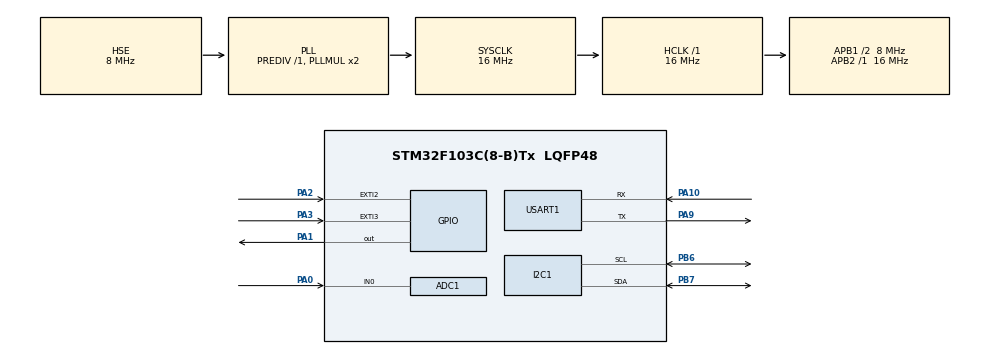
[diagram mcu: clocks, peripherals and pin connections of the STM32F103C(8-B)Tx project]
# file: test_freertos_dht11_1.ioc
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ADC1.Channel-0\#ChannelRegularConversion=ADC_CHANNEL_0
ADC1.NbrOfConversionFlag=1
ADC1.Rank-0\#ChannelRegularConversion=1
ADC1.SamplingTime-0\#ChannelRegularConversion=ADC_SAMPLETIME_1CYCLE_5
ADC1.master=1
FREERTOS.BinarySemaphores01=semaphore_uart,Dynamic,NULL
FREERTOS.Queues01=queue_exit,3,uint16_t,0,Dynamic,NULL,NULL
FREERTOS.Tasks01=Task_ConTrol,0,512,Task_control,Default,NULL,Dynamic,NULL,NULL;Task_GetData,1,512,Task_getdata,Default,NULL,Dynamic,NULL,NULL
FREERTOS.configTOTAL_HEAP_SIZE=5120
FREERTOS.configUSE_NEWLIB_REENTRANT=1
Mcu.Family=STM32F1
Mcu.Name=STM32F103C(8-B)Tx
Mcu.Package=LQFP48
NVIC.EXTI2_IRQn=true\:5\:0\:false\:false\:true\:true\:true\:true\:true
NVIC.EXTI3_IRQn=true\:5\:0\:false\:false\:true\:true\:true\:true\:true
NVIC.PriorityGroup=NVIC_PRIORITYGROUP_4
NVIC.USART1_IRQn=true\:5\:0\:false\:false\:true\:true\:true\:true\:true
PA0-WKUP.Signal=ADCx_IN0
PA1.PinState=GPIO_PIN_SET
PA1.Signal=GPIO_Output
PA10.Mode=Asynchronous
PA10.Signal=USART1_RX
PA13.Mode=Serial_Wire
PA13.Signal=SYS_JTMS-SWDIO
PA14.Mode=Serial_Wire
PA14.Signal=SYS_JTCK-SWCLK
PA2.GPIO_ModeDefaultEXTI=GPIO_MODE_IT_FALLING
PA2.GPIO_PuPd=GPIO_PULLUP
PA2.Signal=GPXTI2
PA3.GPIO_ModeDefaultEXTI=GPIO_MODE_IT_FALLING
PA3.GPIO_PuPd=GPIO_PULLUP
PA3.Signal=GPXTI3
PA9.Mode=Asynchronous
PA9.Signal=USART1_TX
PB6.Mode=I2C
PB6.Signal=I2C1_SCL
PB7.Mode=I2C
PB7.Signal=I2C1_SDA
PD0-OSC_IN.Mode=HSE-External-Oscillator
PD0-OSC_IN.Signal=RCC_OSC_IN
PD1-OSC_OUT.Mode=HSE-External-Oscillator
PD1-OSC_OUT.Signal=RCC_OSC_OUT
ProjectManager.HeapSize=0x200
ProjectManager.StackSize=0x400
ProjectManager.TargetToolchain=STM32CubeIDE
RCC.AHBFreq_Value=16000000
RCC.APB1CLKDivider=RCC_HCLK_DIV2
RCC.APB1Freq_Value=8000000
RCC.APB1TimFreq_Value=16000000
RCC.APB2Freq_Value=16000000
RCC.APB2TimFreq_Value=16000000
RCC.HCLKFreq_Value=16000000
RCC.PLLSourceVirtual=RCC_PLLSOURCE_HSE
RCC.SYSCLKFreq_VALUE=16000000
RCC.SYSCLKSource=RCC_SYSCLKSOURCE_PLLCLK
RCC.USBFreq_Value=16000000
SH.ADCx_IN0.0=ADC1_IN0,IN0
TIM2.Prescaler=15
USART1.VirtualMode=VM_ASYNC
VP_FREERTOS_VS_CMSIS_V1.Mode=CMSIS_V1
VP_TIM2_VS_ClockSourceINT.Mode=Internal
board=custom

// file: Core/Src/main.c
/* USER CODE BEGIN Header */
/**
  ******************************************************************************
  * @file           : main.c
  * @brief          : Main program body
  ******************************************************************************
  * @attention
  *
  * Copyright (c) 2023 STMicroelectronics.
  * All rights reserved.
  *
  * This software is licensed under terms that can be found in the LICENSE file
  * in the root directory of this software component.
  * If no LICENSE file comes with this software, it is provided AS-IS.
  *
  ******************************************************************************
  */
/* USER CODE END Header */
#include "main.h"
#include "cmsis_os.h"

/* USER CODE BEGIN Includes */
#include "i2c-lcd.h"
#include "stdio.h"
#include "DHT.h"
#include "string.h"
#include "stdlib.h"
/* USER CODE END Includes */

ADC_HandleTypeDef hadc1;

I2C_HandleTypeDef hi2c1;

TIM_HandleTypeDef htim2;

UART_HandleTypeDef huart1;

osThreadId Task_ConTrolHandle;
osThreadId Task_GetDataHandle;
osMessageQId queue_exitHandle;
osSemaphoreId semaphore_uartHandle;
/* USER CODE BEGIN PV */

char t[20], data_storage[20];
DHT_DataTypedef data;
int dientro;
volatile uint32_t currentTime, lastTime=0;
volatile int current_Time, last_Time=0;
volatile uint8_t mode=2, para=1;
volatile uint8_t cycle=2, flag=1;
extern __IO uint32_t uwTick;

/* USER CODE END PV */

void SystemClock_Config(void);
static void MX_GPIO_Init(void);
static void MX_I2C1_Init(void);
static void MX_TIM2_Init(void);
static void MX_USART1_UART_Init(void);
static void MX_ADC1_Init(void);
void Task_control(void const * argument);
void Task_getdata(void const * argument);

/* USER CODE BEGIN PFP */
void display_mode_1(DHT_DataTypedef data, int dientro);  // Hàm hiển thị dữ liệu ở chế độ 1
void display_mode_2(DHT_DataTypedef data, int dientro);  // Hàm hiển thị dữ liệu ở chế độ 2
void display_cycle();                       // Hàm hiển thị chu kì ở chế độ 1
void get_data(char *p);                     // Hàm xử lí dữ liệu thì máy tính gửi xuống
void transmit_data_from_computer();         // Hàm truy�?n dữ liệu lên máy tính
void getdata_DT(int *value);
int get_adc_channel(uint32_t channel);
/* USER CODE END PFP */

int main(void)
{

  /* MCU Configuration--------------------------------------------------------*/

  /* Reset of all peripherals, Initializes the Flash interface and the Systick. */
  HAL_Init();

  /* Configure the system clock */
  SystemClock_Config();

  /* Initialize all configured peripherals */
  MX_GPIO_Init();
  MX_I2C1_Init();
  MX_TIM2_Init();
  MX_USART1_UART_Init();
  MX_ADC1_Init();
  /* USER CODE BEGIN 2 */
   lcd_init();
   HAL_UART_Receive_IT(&huart1, (uint8_t*) &t[2], 18);
  /* USER CODE END 2 */

  /* Create the semaphores(s) */
  /* definition and creation of semaphore_uart */
  osSemaphoreDef(semaphore_uart);
  semaphore_uartHandle = osSemaphoreCreate(osSemaphore(semaphore_uart), 1);

  /* Create the queue(s) */
  /* definition and creation of queue_exit */
  osMessageQDef(queue_exit, 3, uint16_t);
  queue_exitHandle = osMessageCreate(osMessageQ(queue_exit), NULL);

  /* Create the thread(s) */
  /* definition and creation of Task_ConTrol */
  osThreadDef(Task_ConTrol, Task_control, osPriorityNormal, 0, 512);
  Task_ConTrolHandle = osThreadCreate(osThread(Task_ConTrol), NULL);

  /* definition and creation of Task_GetData */
  osThreadDef(Task_GetData, Task_getdata, osPriorityAboveNormal, 0, 512);
  Task_GetDataHandle = osThreadCreate(osThread(Task_GetData), NULL);

  /* Start scheduler */
  osKernelStart();

  /* We should never get here as control is now taken by the scheduler */
  /* Infinite loop */
  while (1)
  {

  }
}

void SystemClock_Config(void)
{
  RCC_OscInitTypeDef RCC_OscInitStruct = {0};
  RCC_ClkInitTypeDef RCC_ClkInitStruct = {0};
  RCC_PeriphCLKInitTypeDef PeriphClkInit = {0};

  /** Initializes the RCC Oscillators according to the specified parameters
  * in the RCC_OscInitTypeDef structure.
  */
  RCC_OscInitStruct.OscillatorType = RCC_OSCILLATORTYPE_HSE;
  RCC_OscInitStruct.HSEState = RCC_HSE_ON;
  RCC_OscInitStruct.HSEPredivValue = RCC_HSE_PREDIV_DIV1;
  RCC_OscInitStruct.HSIState = RCC_HSI_ON;
  RCC_OscInitStruct.PLL.PLLState = RCC_PLL_ON;
  RCC_OscInitStruct.PLL.PLLSource = RCC_PLLSOURCE_HSE;
  RCC_OscInitStruct.PLL.PLLMUL = RCC_PLL_MUL2;
  if (HAL_RCC_OscConfig(&RCC_OscInitStruct) != HAL_OK)
  {
    Error_Handler();
  }

  /** Initializes the CPU, AHB and APB buses clocks
  */
  RCC_ClkInitStruct.ClockType = RCC_CLOCKTYPE_HCLK|RCC_CLOCKTYPE_SYSCLK
                              |RCC_CLOCKTYPE_PCLK1|RCC_CLOCKTYPE_PCLK2;
  RCC_ClkInitStruct.SYSCLKSource = RCC_SYSCLKSOURCE_PLLCLK;
  RCC_ClkInitStruct.AHBCLKDivider = RCC_SYSCLK_DIV1;
  RCC_ClkInitStruct.APB1CLKDivider = RCC_HCLK_DIV2;
  RCC_ClkInitStruct.APB2CLKDivider = RCC_HCLK_DIV1;

  if (HAL_RCC_ClockConfig(&RCC_ClkInitStruct, FLASH_LATENCY_0) != HAL_OK)
  {
    Error_Handler();
  }
  PeriphClkInit.PeriphClockSelection = RCC_PERIPHCLK_ADC;
  PeriphClkInit.AdcClockSelection = RCC_ADCPCLK2_DIV2;
  if (HAL_RCCEx_PeriphCLKConfig(&PeriphClkInit) != HAL_OK)
  {
    Error_Handler();
  }
}

static void MX_ADC1_Init(void)
{

  ADC_ChannelConfTypeDef sConfig = {0};

  /** Common config
  */
  hadc1.Instance = ADC1;
  hadc1.Init.ScanConvMode = ADC_SCAN_DISABLE;
  hadc1.Init.ContinuousConvMode = DISABLE;
  hadc1.Init.DiscontinuousConvMode = DISABLE;
  hadc1.Init.ExternalTrigConv = ADC_SOFTWARE_START;
  hadc1.Init.DataAlign = ADC_DATAALIGN_RIGHT;
  hadc1.Init.NbrOfConversion = 1;
  if (HAL_ADC_Init(&hadc1) != HAL_OK)
  {
    Error_Handler();
  }

  /** Configure Regular Channel
  */
  sConfig.Channel = ADC_CHANNEL_0;
  sConfig.Rank = ADC_REGULAR_RANK_1;
  sConfig.SamplingTime = ADC_SAMPLETIME_1CYCLE_5;
  if (HAL_ADC_ConfigChannel(&hadc1, &sConfig) != HAL_OK)
  {
    Error_Handler();
  }

}

static void MX_I2C1_Init(void)
{

  hi2c1.Instance = I2C1;
  hi2c1.Init.ClockSpeed = 100000;
  hi2c1.Init.DutyCycle = I2C_DUTYCYCLE_2;
  hi2c1.Init.OwnAddress1 = 0;
  hi2c1.Init.AddressingMode = I2C_ADDRESSINGMODE_7BIT;
  hi2c1.Init.DualAddressMode = I2C_DUALADDRESS_DISABLE;
  hi2c1.Init.OwnAddress2 = 0;
  hi2c1.Init.GeneralCallMode = I2C_GENERALCALL_DISABLE;
  hi2c1.Init.NoStretchMode = I2C_NOSTRETCH_DISABLE;
  if (HAL_I2C_Init(&hi2c1) != HAL_OK)
  {
    Error_Handler();
  }

}

static void MX_TIM2_Init(void)
{

  TIM_ClockConfigTypeDef sClockSourceConfig = {0};
  TIM_MasterConfigTypeDef sMasterConfig = {0};

  htim2.Instance = TIM2;
  htim2.Init.Prescaler = 15;
  htim2.Init.CounterMode = TIM_COUNTERMODE_UP;
  htim2.Init.Period = 65535;
  htim2.Init.ClockDivision = TIM_CLOCKDIVISION_DIV1;
  htim2.Init.AutoReloadPreload = TIM_AUTORELOAD_PRELOAD_DISABLE;
  if (HAL_TIM_Base_Init(&htim2) != HAL_OK)
  {
    Error_Handler();
  }
  sClockSourceConfig.ClockSource = TIM_CLOCKSOURCE_INTERNAL;
  if (HAL_TIM_ConfigClockSource(&htim2, &sClockSourceConfig) != HAL_OK)
  {
    Error_Handler();
  }
  sMasterConfig.MasterOutputTrigger = TIM_TRGO_RESET;
  sMasterConfig.MasterSlaveMode = TIM_MASTERSLAVEMODE_DISABLE;
  if (HAL_TIMEx_MasterConfigSynchronization(&htim2, &sMasterConfig) != HAL_OK)
  {
    Error_Handler();
  }

}

static void MX_USART1_UART_Init(void)
{

  huart1.Instance = USART1;
  huart1.Init.BaudRate = 115200;
  huart1.Init.WordLength = UART_WORDLENGTH_8B;
  huart1.Init.StopBits = UART_STOPBITS_1;
  huart1.Init.Parity = UART_PARITY_NONE;
  huart1.Init.Mode = UART_MODE_TX_RX;
  huart1.Init.HwFlowCtl = UART_HWCONTROL_NONE;
  huart1.Init.OverSampling = UART_OVERSAMPLING_16;
  if (HAL_UART_Init(&huart1) != HAL_OK)
  {
    Error_Handler();
  }

}

static void MX_GPIO_Init(void)
{
  GPIO_InitTypeDef GPIO_InitStruct = {0};

  /* GPIO Ports Clock Enable */
  __HAL_RCC_GPIOD_CLK_ENABLE();
  __HAL_RCC_GPIOA_CLK_ENABLE();
  __HAL_RCC_GPIOB_CLK_ENABLE();

  /*Configure GPIO pin Output Level */
  HAL_GPIO_WritePin(GPIOA, GPIO_PIN_1, GPIO_PIN_SET);

  /*Configure GPIO pin : PA1 */
  GPIO_InitStruct.Pin = GPIO_PIN_1;
  GPIO_InitStruct.Mode = GPIO_MODE_OUTPUT_PP;
  GPIO_InitStruct.Pull = GPIO_NOPULL;
  GPIO_InitStruct.Speed = GPIO_SPEED_FREQ_LOW;
  HAL_GPIO_Init(GPIOA, &GPIO_InitStruct);

  /*Configure GPIO pins : PA2 PA3 */
  GPIO_InitStruct.Pin = GPIO_PIN_2|GPIO_PIN_3;
  GPIO_InitStruct.Mode = GPIO_MODE_IT_FALLING;
  GPIO_InitStruct.Pull = GPIO_PULLUP;
  HAL_GPIO_Init(GPIOA, &GPIO_InitStruct);

  /* EXTI interrupt init*/
  HAL_NVIC_SetPriority(EXTI2_IRQn, 5, 0);
  HAL_NVIC_EnableIRQ(EXTI2_IRQn);

  HAL_NVIC_SetPriority(EXTI3_IRQn, 5, 0);
  HAL_NVIC_EnableIRQ(EXTI3_IRQn);

}

/* USER CODE BEGIN 4 */
/*Hàm này sẽ được g�?i khi có dữ liệu từ máy tính gửi xuống
 * */
void HAL_UART_RxCpltCallback(UART_HandleTypeDef *huart)
{
	HAL_UART_Receive_IT(&huart1, (uint8_t*) &t[2], 18);// �?ăng kí nơi lưu dữ liệu từ máy tính gửi xuống
	strncpy(data_storage,"",20);						// xóa nơi lưu trữ để nhận dữ liệu mới
	strncpy(data_storage,&t[2],strlen(&t[2])-2);		// xóa nơi lưu trữ để nhận dữ liệu mới
	strncpy(t,"",20);									// xóa nơi lưu trữ ban đầu để chuẩn bị nhận dữ liệu tiếp theo
	osSemaphoreRelease (semaphore_uartHandle);// giải phóng semaphore
}
/*Hàm này sẽ được g�?i khi có ngắt ngoài xảy ra */
void HAL_GPIO_EXTI_Callback(uint16_t GPIO_Pin)
{
	if(GPIO_Pin==GPIO_PIN_3)				//Nếu là ngắt ngoài 3 thì ta sẽ đổi mode
	{
		current_Time=HAL_GetTick();
		if(current_Time-last_Time>300)		// �?ảm bảo giữa 2 lần ngắt là 300ms nhằm chống dội phím
		{
			if(mode==1)
			{
				mode=2;
				flag=1;
			}
			else
				mode=1;
		}
		last_Time=current_Time;
	}
	if(GPIO_Pin==GPIO_PIN_2)			// Nếu là ngắt ngoài 2 thì ta sẽ tăng chu kì lên 1
	{
		current_Time=HAL_GetTick();
		if((current_Time-last_Time>300)&&(mode==1))  // ch�? 300ms để chống nhiễu và phải ở chế độ 1
		{
			cycle=cycle+1;
		}
		last_Time=current_Time;
	}
	__HAL_GPIO_EXTI_CLEAR_IT(GPIO_Pin);  /// xóa c�? báo ngắt
}
void display_mode_1(DHT_DataTypedef data, int dientro) // Hàm hiển thị dữ liệu ở chế độ 1, tham số truy�?n vào là 1 struct có chứa nhiệt đ�?, độ ẩm
{
	char row_1[18], row_2[16];

	lcd_put_cur(0,0);
	strcpy(row_1,"Mode:1");
	strcpy(&row_1[6]," T");  // copy chuỗi vào mảng
	sprintf(&row_1[8],"%d",cycle);  // hàm chuyển đổi số sang chuỗi
	strcpy(&row_1[9]," DT");
	sprintf(&row_1[12],"%d",dientro);
	lcd_send_string(row_1);      // hàm hiển thị ra LCD

	lcd_put_cur(1,0);
	strcpy(row_2,"ND:");
	sprintf(&row_2[3],"%d",data.Temperature);
	strcpy(&row_2[5]," DA:");
	sprintf(&row_2[9],"%d",data.Humidity);
	lcd_send_string(row_2);
}
void display_mode_2(DHT_DataTypedef data, int dientro)// // Hàm hiển thị dữ liệu ở chế độ 2, tham số truy�?n vào là 1 struct có chứa nhiệt đ�?, độ ẩm
{
	char row_2[9];
	lcd_clear();
	lcd_put_cur(0,0);
	lcd_send_string("Mode:2");
	if(para==1)// nếu yêu cầu nhiệt độ sẽ hiển thị nhiệt độ
	{
		lcd_put_cur(1,0);
		strcpy(row_2,"ND:");
		sprintf(&row_2[3],"%d",data.Temperature);
		lcd_send_string(row_2);
	}
	if(para==2)// nếu yêu cầu độ ẩm sẽ hiển thị độ ẩm
	{
		lcd_put_cur(1,0);
		strcpy(row_2,"DA:");
		sprintf(&row_2[3],"%d",data.Humidity);
		lcd_send_string(row_2);
	}
	if(para==3)// nếu yêu cầu điện trở
	{
		lcd_put_cur(1,0);
		strcpy(row_2,"DT:");
		sprintf(&row_2[3],"%d",dientro);
		lcd_send_string(row_2);
	}
}
void display_cycle() // Hàm hiển thị chu kì
{
	if(mode==1)
	{
		if((cycle>9)||(cycle<2))// giới hạn chu kì từ 2-9 s
		{
			cycle=2;
		}
		lcd_put_cur(0,0);
		lcd_send_string("Mode:1");
		char row_1[10];
		lcd_put_cur(0,6);
		strcpy(row_1," T");
		sprintf(&row_1[2],"%d",cycle);
		lcd_send_string(row_1);
	}
}
void get_data(char *p)// hàm xử lí dữ liệu từ máy tính truy�?n xuống, tham số truy�?n vào là địa chỉ của mảng lưu trữ dữ liệu
{
	uint8_t cycle_1, m, n, k;
	if(mode == 1)  // nếu là mode 1 thì dữ liệu sẽ là chu kì và sẽ chuyển đổi từ kí tự sang số
	{
		cycle_1=atoi(p);
		if(cycle_1>0)
		{
			cycle=cycle_1;
		}
	}
	if(mode == 2) // Nếu lầ mode 2 thì dữ liệu là thông số nhiệt độ hoặc độ ẩm
	{
		m=strcmp(p,"nhiet do ");// so sánh chuỗi nhận được
		n=strcmp(p,"do am ");
		k=strcmp(p,"dien tro ");
		if((m==0)&&(n!=0)&&(k!=0))
		{
			para=1;             // nếu là nhiệt độ para=1
			strncpy(p,"",20);
		}
		if((m!=0)&&(n==0)&&(k!=0))
		{
			para=2;				 // nếu là độ ẩm para=2
			strncpy(p,"",20);
		}
		if((m!=0)&&(n!=0)&&(k==0))
		{
			para=3;				// nếu là độ ẩm para=3
			strncpy(p,"",20);
		}
		flag=1;  // bật c�? báo là hiển thị dữ liệu yêu cầu từ máy tính gửi xuống
	}
}
void transmit_data_from_computer()// HÀm truy�?n dữ liệu lên máy tính
{
	if(mode==1)// nếu là mode 1 sẽ truy�?n đầy đủ
	{
		char row_2[37];
		strcpy(row_2,"Nhiet do:");
		sprintf(&row_2[9],"%d",data.Temperature);
		strcpy(&row_2[11]," Do am:");
		sprintf(&row_2[18],"%d",data.Humidity);
		strcpy(&row_2[20]," Dien tro:");
		sprintf(&row_2[30],"%d",dientro);
		strcpy(&row_2[34],"\n");
		HAL_UART_Transmit(&huart1,(uint8_t*)row_2,35,200);
	}
	if(mode==2)  // nếu là mode 2 sẽ truy�?n theo yêu cầu
	{
		if(para==1)
		{
			char row_2[13];
			strcpy(row_2,"Nhiet do:");
			sprintf(&row_2[9],"%d",data.Temperature);
			strcpy(&row_2[11],"\n");
			HAL_UART_Transmit(&huart1,(uint8_t*)row_2,12,100);
		}
		if(para==2)
		{
			char row_2[10];
			strcpy(row_2,"Do am:");
			sprintf(&row_2[6],"%d",data.Humidity);
			strcpy(&row_2[8],"\n");
			HAL_UART_Transmit(&huart1,(uint8_t*)row_2,9,100);
		}
		if(para==3)
		{
			char row_2[16];
			strcpy(row_2,"Dien tro:");
			sprintf(&row_2[9],"%d",dientro);
			strcpy(&row_2[13],"\n");
			HAL_UART_Transmit(&huart1,(uint8_t*)row_2,14,100);
		}
	}
}
void getdata_DT(int *value)
{
	int data;
	float adc;
	data=get_adc_channel(ADC_CHANNEL_0);// lấy dữ liệu từ ADC
	adc=(float)(data/4096.0)*5000;
	*(value)=(int)adc;
}
int get_adc_channel(uint32_t channel)// cấu hình adc
{
	int adc;
	ADC_ChannelConfTypeDef sConfig = {0};
	sConfig.Channel = channel;
	sConfig.Rank = ADC_REGULAR_RANK_1;
	sConfig.SamplingTime = ADC_SAMPLETIME_1CYCLE_5;
	if (HAL_ADC_ConfigChannel(&hadc1, &sConfig) != HAL_OK)
	{
	    Error_Handler();
	}
	HAL_ADC_Start(&hadc1);
	HAL_ADC_PollForConversion(&hadc1,1000);
	adc = HAL_ADC_GetValue(&hadc1);
	HAL_ADC_Stop(&hadc1);
	return adc;
}
/* USER CODE END 4 */

void Task_control(void const * argument)
{
  /* USER CODE BEGIN 5 */
  /* Infinite loop */
  for(;;)
  {
	if(mode==1)
	{
		display_cycle(); // hiển thị chu kì nếu có cập nhật nhằm đảm bảo tính th�?i gian thực
		currentTime=uwTick;
		if(currentTime-lastTime>cycle*1000)// đúng chu kì như đã đặt thì sẽ hiển thị nhưng thông số cần thiết
		{
			DHT_GetData(&data);
			getdata_DT(&dientro);
			display_mode_1(data, dientro);
			lastTime=currentTime;
			transmit_data_from_computer();
		}
	}
	if((mode==2)&&(flag==1))// nếu là mode 2 và có yêu cầu truy�?n và hiển thị thông số thì sẽ hiển thị thông số yêu cầu,
	{
		DHT_GetData(&data);
		getdata_DT(&dientro);
		display_mode_2(data, dientro);
		transmit_data_from_computer();
		flag=0;// xóa c�? báo gửi thông số yêu cầu
	}
    osDelay(1);
  }
  /* USER CODE END 5 */
}

void Task_getdata(void const * argument)
{
  /* USER CODE BEGIN Task_getdata */
  /* Infinite loop */
  for(;;)
  {
	osSemaphoreWait(semaphore_uartHandle,osWaitForever);// đợi semaphore từ ngắt uart
	get_data(data_storage);                           // xử lí dữ liệu
  }
  /* USER CODE END Task_getdata */
}

void Error_Handler(void)
{
  /* USER CODE BEGIN Error_Handler_Debug */
  /* User can add his own implementation to report the HAL error return state */
 // __disable_irq();

  while (1)
  {
  }
  /* USER CODE END Error_Handler_Debug */
}
